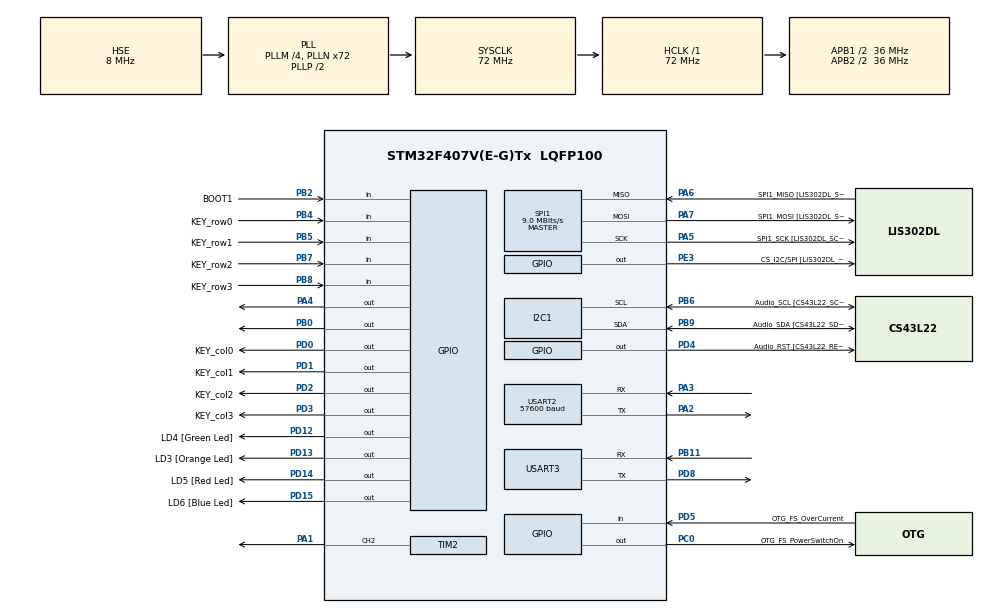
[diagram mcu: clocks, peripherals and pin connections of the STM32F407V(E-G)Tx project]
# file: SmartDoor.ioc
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Mcu.Family=STM32F4
Mcu.Name=STM32F407V(E-G)Tx
Mcu.Package=LQFP100
NVIC.PriorityGroup=NVIC_PRIORITYGROUP_4
NVIC.TIM6_DAC_IRQn=true\:10\:0\:true\:false\:true\:true\:true\:true
NVIC.TIM7_IRQn=true\:0\:0\:false\:false\:true\:false\:true\:true
NVIC.TimeBase=TIM7_IRQn
NVIC.TimeBaseIP=TIM7
PA1.Signal=S_TIM2_CH2
PA10.GPIO_Label=OTG_FS_ID
PA10.GPIO_Mode=GPIO_MODE_AF_PP
PA10.GPIO_PuPd=GPIO_NOPULL
PA10.GPIO_Speed=GPIO_SPEED_FREQ_LOW
PA10.Signal=USB_OTG_FS_ID
PA11.GPIO_Label=OTG_FS_DM
PA11.GPIO_Mode=GPIO_MODE_AF_PP
PA11.GPIO_PuPd=GPIO_NOPULL
PA11.GPIO_Speed=GPIO_SPEED_FREQ_LOW
PA11.Signal=USB_OTG_FS_DM
PA12.GPIO_Label=OTG_FS_DP
PA12.GPIO_Mode=GPIO_MODE_AF_PP
PA12.GPIO_PuPd=GPIO_NOPULL
PA12.GPIO_Speed=GPIO_SPEED_FREQ_LOW
PA12.Signal=USB_OTG_FS_DP
PA13.GPIO_Label=SWDIO
PA13.Mode=Serial_Wire
PA13.Signal=SYS_JTMS-SWDIO
PA14.GPIO_Label=SWCLK
PA14.Mode=Serial_Wire
PA14.Signal=SYS_JTCK-SWCLK
PA2.Mode=Asynchronous
PA2.Signal=USART2_TX
PA3.Mode=Asynchronous
PA3.Signal=USART2_RX
PA4.Signal=GPIO_Output
PA5.GPIO_Label=SPI1_SCK [LIS302DL_SCL/SPC]
PA5.GPIO_Mode=GPIO_MODE_AF_PP
PA5.GPIO_PuPd=GPIO_NOPULL
PA5.GPIO_Speed=GPIO_SPEED_FREQ_LOW
PA5.Mode=Full_Duplex_Master
PA5.Signal=SPI1_SCK
PA6.GPIO_Label=SPI1_MISO [LIS302DL_SDO]
PA6.GPIO_Mode=GPIO_MODE_AF_PP
PA6.GPIO_PuPd=GPIO_NOPULL
PA6.GPIO_Speed=GPIO_SPEED_FREQ_LOW
PA6.Mode=Full_Duplex_Master
PA6.Signal=SPI1_MISO
PA7.GPIO_Label=SPI1_MOSI [LIS302DL_SDA/SDI/SDO]
PA7.GPIO_Mode=GPIO_MODE_AF_PP
PA7.GPIO_PuPd=GPIO_NOPULL
PA7.GPIO_Speed=GPIO_SPEED_FREQ_LOW
PA7.Mode=Full_Duplex_Master
PA7.Signal=SPI1_MOSI
PA9.GPIO_Label=VBUS_FS
PA9.GPIO_Mode=GPIO_MODE_INPUT
PA9.GPIO_PuPd=GPIO_NOPULL
PA9.Signal=USB_OTG_FS_VBUS
PB0.Signal=GPIO_Output
PB10.GPIO_Label=CLK_IN [MP45DT02_CLK]
PB10.GPIO_Mode=GPIO_MODE_AF_PP
PB10.GPIO_PuPd=GPIO_NOPULL
PB10.GPIO_Speed=GPIO_SPEED_FREQ_LOW
PB10.Signal=I2S2_CK
PB11.Mode=Asynchronous
PB11.Signal=USART3_RX
PB2.GPIO_Label=BOOT1
PB2.GPIO_Mode=GPIO_MODE_INPUT
PB2.GPIO_PuPd=GPIO_NOPULL
PB2.Signal=GPIO_Input
PB3.GPIO_Label=SWO
PB3.Signal=SYS_JTDO-SWO
PB4.GPIO_Label=KEY_row0
PB4.GPIO_PuPd=GPIO_PULLUP
PB4.Signal=GPIO_Input
PB5.GPIO_Label=KEY_row1
PB5.GPIO_PuPd=GPIO_PULLUP
PB5.Signal=GPIO_Input
PB6.GPIO_Label=Audio_SCL [CS43L22_SCL]
PB6.GPIO_Mode=GPIO_MODE_AF_OD
PB6.GPIO_PuPd=GPIO_NOPULL
PB6.GPIO_Speed=GPIO_SPEED_FREQ_LOW
PB6.Mode=I2C
PB6.Signal=I2C1_SCL
PB7.GPIO_Label=KEY_row2
PB7.GPIO_PuPd=GPIO_PULLUP
PB7.Signal=GPIO_Input
PB8.GPIO_Label=KEY_row3
PB8.GPIO_PuPd=GPIO_PULLUP
PB8.Signal=GPIO_Input
PB9.GPIO_Label=Audio_SDA [CS43L22_SDA]
PB9.GPIO_Mode=GPIO_MODE_AF_OD
PB9.GPIO_PuPd=GPIO_NOPULL
PB9.GPIO_Speed=GPIO_SPEED_FREQ_LOW
PB9.Mode=I2C
PB9.Signal=I2C1_SDA
PC0.GPIO_Label=OTG_FS_PowerSwitchOn
PC0.GPIO_PuPd=GPIO_NOPULL
PC0.GPIO_Speed=GPIO_SPEED_FREQ_LOW
PC0.PinState=GPIO_PIN_SET
PC0.Signal=GPIO_Output
PC10.GPIO_Label=I2S3_SCK [CS43L22_SCLK]
PC10.GPIO_Mode=GPIO_MODE_AF_PP
PC10.GPIO_PuPd=GPIO_NOPULL
PC10.GPIO_Speed=GPIO_SPEED_FREQ_LOW
PC10.Signal=I2S3_CK
PC12.GPIO_Label=I2S3_SD [CS43L22_SDIN]
PC12.GPIO_Mode=GPIO_MODE_AF_PP
PC12.GPIO_PuPd=GPIO_NOPULL
PC12.GPIO_Speed=GPIO_SPEED_FREQ_LOW
PC12.Signal=I2S3_SD
PC14-OSC32_IN.GPIO_Label=PC14-OSC32_IN
PC14-OSC32_IN.Signal=RCC_OSC32_IN
PC15-OSC32_OUT.GPIO_Label=PC15-OSC32_OUT
PC15-OSC32_OUT.Signal=RCC_OSC32_OUT
PC3.GPIO_Label=PDM_OUT [MP45DT02_DOUT]
PC3.GPIO_Mode=GPIO_MODE_AF_PP
PC3.GPIO_PuPd=GPIO_NOPULL
PC3.GPIO_Speed=GPIO_SPEED_FREQ_LOW
PC3.Signal=I2S2_SD
PC7.GPIO_Label=I2S3_MCK [CS43L22_MCLK]
PC7.GPIO_Mode=GPIO_MODE_AF_PP
PC7.GPIO_PuPd=GPIO_NOPULL
PC7.GPIO_Speed=GPIO_SPEED_FREQ_LOW
PC7.Signal=I2S3_MCK
PD0.GPIO_Label=KEY_col0
PD0.PinState=GPIO_PIN_SET
PD0.Signal=GPIO_Output
PD1.GPIO_Label=KEY_col1
PD1.PinState=GPIO_PIN_SET
PD1.Signal=GPIO_Output
PD12.GPIO_Label=LD4 [Green Led]
PD12.GPIO_PuPd=GPIO_NOPULL
PD12.GPIO_Speed=GPIO_SPEED_FREQ_LOW
PD12.Signal=GPIO_Output
PD13.GPIO_Label=LD3 [Orange Led]
PD13.GPIO_PuPd=GPIO_NOPULL
PD13.GPIO_Speed=GPIO_SPEED_FREQ_LOW
PD13.Signal=GPIO_Output
PD14.GPIO_Label=LD5 [Red Led]
PD14.GPIO_PuPd=GPIO_NOPULL
PD14.GPIO_Speed=GPIO_SPEED_FREQ_LOW
PD14.Signal=GPIO_Output
PD15.GPIO_Label=LD6 [Blue Led]
PD15.GPIO_PuPd=GPIO_NOPULL
PD15.GPIO_Speed=GPIO_SPEED_FREQ_LOW
PD15.Signal=GPIO_Output
PD2.GPIO_Label=KEY_col2
PD2.PinState=GPIO_PIN_SET
PD2.Signal=GPIO_Output
PD3.GPIO_Label=KEY_col3
PD3.PinState=GPIO_PIN_SET
PD3.Signal=GPIO_Output
PD4.GPIO_Label=Audio_RST [CS43L22_RESET]
PD4.GPIO_PuPd=GPIO_NOPULL
PD4.GPIO_Speed=GPIO_SPEED_FREQ_LOW
PD4.Signal=GPIO_Output
PD5.GPIO_Label=OTG_FS_OverCurrent
PD5.GPIO_Mode=GPIO_MODE_INPUT
PD5.GPIO_PuPd=GPIO_NOPULL
PD5.Signal=GPIO_Input
PD8.Mode=Asynchronous
PD8.Signal=USART3_TX
PE3.GPIO_Label=CS_I2C/SPI [LIS302DL_CS_I2C/SPI]
PE3.GPIO_PuPd=GPIO_NOPULL
PE3.GPIO_Speed=GPIO_SPEED_FREQ_LOW
PE3.Signal=GPIO_Output
PH0-OSC_IN.GPIO_Label=PH0-OSC_IN
PH0-OSC_IN.Mode=HSE-External-Oscillator
PH0-OSC_IN.Signal=RCC_OSC_IN
PH1-OSC_OUT.GPIO_Label=PH1-OSC_OUT
PH1-OSC_OUT.Mode=HSE-External-Oscillator
PH1-OSC_OUT.Signal=RCC_OSC_OUT
ProjectManager.HeapSize=0x200
ProjectManager.StackSize=0x400
ProjectManager.TargetToolchain=STM32CubeIDE
RCC.48MHZClocksFreq_Value=20571428.57142857
RCC.AHBFreq_Value=72000000
RCC.APB1CLKDivider=RCC_HCLK_DIV2
RCC.APB1Freq_Value=36000000
RCC.APB1TimFreq_Value=72000000
RCC.APB2CLKDivider=RCC_HCLK_DIV2
RCC.APB2Freq_Value=36000000
RCC.APB2TimFreq_Value=72000000
RCC.CortexFreq_Value=72000000
RCC.HCLKFreq_Value=72000000
RCC.HSE_VALUE=8000000
RCC.HSI_VALUE=16000000
RCC.LSE_VALUE=32768
RCC.PLLM=4
RCC.PLLN=72
RCC.PLLQ=7
RCC.PLLSourceVirtual=RCC_PLLSOURCE_HSE
RCC.SYSCLKFreq_VALUE=72000000
RCC.SYSCLKSource=RCC_SYSCLKSOURCE_PLLCLK
RCC.VCOOutputFreq_Value=144000000
SH.S_TIM2_CH2.0=TIM2_CH2,PWM Generation2 CH2
SPI1.BaudRatePrescaler=SPI_BAUDRATEPRESCALER_4
SPI1.CalculateBaudRate=9.0 MBits/s
SPI1.Direction=SPI_DIRECTION_2LINES
SPI1.Mode=SPI_MODE_MASTER
SPI1.VirtualType=VM_MASTER
TIM2.Channel-PWM\ Generation2\ CH2=TIM_CHANNEL_2
TIM2.Period=20000-1
TIM2.Prescaler=72-1
TIM6.Period=5000-1
TIM6.Prescaler=7200-1
USART2.BaudRate=57600
USART2.VirtualMode=VM_ASYNC
USART3.VirtualMode=VM_ASYNC
VP_SYS_VS_tim7.Mode=TIM7
VP_TIM2_VS_ClockSourceINT.Mode=Internal
VP_TIM6_VS_ClockSourceINT.Mode=Enable_Timer
board=STM32F407G-DISC1

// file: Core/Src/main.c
/* USER CODE BEGIN Header */
/**
  ******************************************************************************
  * @file           : main.c
  * @brief          : Main program body
  ******************************************************************************
  * @attention
  *
  * Copyright (c) 2024 STMicroelectronics.
  * All rights reserved.
  *
  * This software is licensed under terms that can be found in the LICENSE file
  * in the root directory of this software component.
  * If no LICENSE file comes with this software, it is provided AS-IS.
  *
  ******************************************************************************
  */
/* USER CODE END Header */
#include "main.h"
#include "i2c.h"
#include "spi.h"
#include "tim.h"
#include "usart.h"
#include "gpio.h"

/* USER CODE BEGIN PV */

static TaskHandle_t AppTaskCreate_Handle;

//Task Handle
static TaskHandle_t DoorCtrlTask_Handle;
static TaskHandle_t RFIDTask_Handle;
static TaskHandle_t FPTask_Handle;
static TaskHandle_t xMotorTask_Handle;

//Queue Handle
//QueueHandle_t Ctrl_RFID_Queue;
//QueueHandle_t RFID_Ctrl_Queue;
QueueHandle_t Ctrl_FP_Queue;
QueueHandle_t FP_Ctrl_Queue;
QueueHandle_t Ctrl_Motor_Queue;

QueueData gCtrl_RFID;

uint8_t data;
uint8_t status;
uint8_t str[MAX_LEN]; // Max_LEN = 16
uint8_t sNum[5];
uint8_t fp_activate;

uint8_t storedRFIDCards[MAX_CARDS][RFID_CARD_LENGTH];
uint8_t EmptyRFIDCards[RFID_CARD_LENGTH];

SemaphoreHandle_t xKeyScanSemaphore;

char press_key;

//static TaskHandle_t IC_Task_Handle;

/* USER CODE END PV */

void SystemClock_Config(void);
/* USER CODE BEGIN PFP */
#ifdef __GNUC__
#define PUTCHAR_PROTOTYPE int __io_putchar(int ch)
#else
#define PUTCHAR_PROTOTYPE int fputc(int ch, FILE *f)
#endif

PUTCHAR_PROTOTYPE
{
	HAL_UART_Transmit(&huart3, (uint8_t *)&ch, 1, HAL_MAX_DELAY);
	return ch;
}

static void Queue_Init(void)
{
	QueueData QueueData_init;

//	Ctrl_RFID_Queue = xQueueCreate(QUEUE_LENGTH, sizeof(QueueData_init));
//	if (Ctrl_RFID_Queue == NULL) {
//		printf("Ctrl_RFID_Queue create fail \r \n");
//	}
//
//	RFID_Ctrl_Queue = xQueueCreate(QUEUE_LENGTH, sizeof(QueueData_init));
//	if (RFID_Ctrl_Queue == NULL) {
//		printf("RFID_Ctrl_Queue create fail \r \n");
//	}

	Ctrl_FP_Queue = xQueueCreate(QUEUE_LENGTH, sizeof(QueueData_init));
	if (Ctrl_FP_Queue == NULL) {
		printf("Ctrl_FP_Queue create fail \r \n");
	}

	FP_Ctrl_Queue = xQueueCreate(QUEUE_LENGTH, sizeof(QueueData_init));
	if (FP_Ctrl_Queue == NULL) {
		printf("FP_Ctrl_Queue create fail \r \n");
	}

	Ctrl_Motor_Queue = xQueueCreate(QUEUE_LENGTH, sizeof(QueueData_init));
	if (Ctrl_Motor_Queue == NULL) {
		printf("Ctrl_Motor_Queue create fail \r \n");
	}
}

static void BSP_Init(void)
{

	OLED_Init();
	OLED_Clear();
	OLED_Update();

}

/* USER CODE END PFP */

/* USER CODE BEGIN 0 */

uint16_t GetCCRFromAngle(float InputAngle){
    float Ret=InputAngle/180*2000+500;
    return Ret;
}

void MotorTask( void ){

	QueueData MotorqueueData_rx;

    for(;;){

//		HAL_GPIO_TogglePin(GPIOD, GPIO_PIN_12);
//		vTaskDelay(200);

        if(xQueueReceive(Ctrl_Motor_Queue, &(MotorqueueData_rx), pdMS_TO_TICKS(50)))
        {

            if(MotorqueueData_rx.systemmode == OPEN) { // Forward 180 degrees
				__HAL_TIM_SET_COMPARE(&htim2, TIM_CHANNEL_2, GetCCRFromAngle(180));
//				vTaskDelay(50);
	            printf("MotorTask OPEN \n");
            }
            else if(MotorqueueData_rx.systemmode == CLOSE)
            { // Backward 180 degrees
				__HAL_TIM_SET_COMPARE(&htim2, TIM_CHANNEL_2, GetCCRFromAngle(0));
//				vTaskDelay(50);
				printf("MotorTask CLOSE \n");
            }
        }
        vTaskDelay(500);

    }

}

static void AppTaskCreate(void)
{
	BaseType_t xReturn = pdPASS;
	taskENTER_CRITICAL();

	xReturn = xTaskCreate((TaskFunction_t	)DoorCtrlTask,
															(const char* 	)"DoorCtrlTask",
															(uint32_t 		)128,
															(void* 		  	)NULL,
															(UBaseType_t 	)4,
															(TaskHandle_t*  )&DoorCtrlTask_Handle);

	if(pdPASS == xReturn)
		printf("DoorCtrlTask Task Create Successful!\r\n");

//	xReturn = xTaskCreate((TaskFunction_t	)RFIDTask,
//															(const char* 	)"RFIDTask",
//															(uint32_t 		)128,
//															(void* 		  	)NULL,
//															(UBaseType_t 	)4,
//															(TaskHandle_t*  )&RFIDTask_Handle);
//	if(pdPASS == xReturn)
//		printf("RFIDTask Task Create Successful!\r\n");

//	xReturn = xTaskCreate((TaskFunction_t	)FPTask,
//															(const char* 	)"FPTask",
//															(uint32_t 		)128,
//															(void* 		  	)NULL,
//															(UBaseType_t 	)4,
//															(TaskHandle_t*  )&FPTask_Handle);
//	if(pdPASS == xReturn)
//		printf("FPTask Task Create Successful!\r\n");

	xReturn = xTaskCreate((TaskFunction_t	)MotorTask,
															(const char* 	)"MotorTask",
															(uint32_t 		)128,
															(void* 		  	)NULL,
															(UBaseType_t 	)3,
															(TaskHandle_t*  )&xMotorTask_Handle);
	if(pdPASS == xReturn)

  vTaskDelete(AppTaskCreate_Handle);

  taskEXIT_CRITICAL();            //???��?��??��?
}

/* USER CODE END 0 */

int main(void)
{

  /* MCU Configuration--------------------------------------------------------*/

  /* Reset of all peripherals, Initializes the Flash interface and the Systick. */
  HAL_Init();

  /* Configure the system clock */
  SystemClock_Config();

  /* Initialize all configured peripherals */
  MX_GPIO_Init();
  MX_USART2_UART_Init();
  MX_I2C1_Init();
  MX_SPI1_Init();
  MX_USART3_UART_Init();
  MX_TIM2_Init();
  MX_TIM6_Init();
  /* USER CODE BEGIN 2 */
  BaseType_t xReturn = pdPASS;

  MFRC522_Init();
  InitStoredRFIDCards();
  BSP_Init();

  HAL_TIM_Base_Start_IT(&htim6);
  HAL_TIM_PWM_Start(&htim2,TIM_CHANNEL_2);

  xKeyScanSemaphore = xSemaphoreCreateBinary();

  printf("BSP Init Done!\r\n");

  Queue_Init();
  printf("Queue Init Done!\r\n");

  xReturn = xTaskCreate((TaskFunction_t	)AppTaskCreate,
														(const char* 	)"AppTaskCreate",
														(uint32_t 		)128,
														(void* 		  	)NULL,
														(UBaseType_t 	)4,
														(TaskHandle_t*  )&AppTaskCreate_Handle);

	if(NULL != AppTaskCreate_Handle)
	vTaskStartScheduler();

  /* USER CODE END 2 */

  /* Infinite loop */
  while (1)
  {

  }
}

void SystemClock_Config(void)
{
  RCC_OscInitTypeDef RCC_OscInitStruct = {0};
  RCC_ClkInitTypeDef RCC_ClkInitStruct = {0};

  /** Configure the main internal regulator output voltage
  */
  __HAL_RCC_PWR_CLK_ENABLE();
  __HAL_PWR_VOLTAGESCALING_CONFIG(PWR_REGULATOR_VOLTAGE_SCALE1);

  /** Initializes the RCC Oscillators according to the specified parameters
  * in the RCC_OscInitTypeDef structure.
  */
  RCC_OscInitStruct.OscillatorType = RCC_OSCILLATORTYPE_HSE;
  RCC_OscInitStruct.HSEState = RCC_HSE_ON;
  RCC_OscInitStruct.PLL.PLLState = RCC_PLL_ON;
  RCC_OscInitStruct.PLL.PLLSource = RCC_PLLSOURCE_HSE;
  RCC_OscInitStruct.PLL.PLLM = 4;
  RCC_OscInitStruct.PLL.PLLN = 72;
  RCC_OscInitStruct.PLL.PLLP = RCC_PLLP_DIV2;
  RCC_OscInitStruct.PLL.PLLQ = 7;
  if (HAL_RCC_OscConfig(&RCC_OscInitStruct) != HAL_OK)
  {
    Error_Handler();
  }

  /** Initializes the CPU, AHB and APB buses clocks
  */
  RCC_ClkInitStruct.ClockType = RCC_CLOCKTYPE_HCLK|RCC_CLOCKTYPE_SYSCLK
                              |RCC_CLOCKTYPE_PCLK1|RCC_CLOCKTYPE_PCLK2;
  RCC_ClkInitStruct.SYSCLKSource = RCC_SYSCLKSOURCE_PLLCLK;
  RCC_ClkInitStruct.AHBCLKDivider = RCC_SYSCLK_DIV1;
  RCC_ClkInitStruct.APB1CLKDivider = RCC_HCLK_DIV2;
  RCC_ClkInitStruct.APB2CLKDivider = RCC_HCLK_DIV2;

  if (HAL_RCC_ClockConfig(&RCC_ClkInitStruct, FLASH_LATENCY_2) != HAL_OK)
  {
    Error_Handler();
  }
}

void HAL_TIM_PeriodElapsedCallback(TIM_HandleTypeDef *htim)
{
  if (htim->Instance == TIM7) {
    HAL_IncTick();
  }
  /* USER CODE BEGIN Callback 1 */

  if (htim->Instance == TIM6) {
//		HAL_GPIO_TogglePin(GPIOD, GPIO_PIN_13);

    	press_key = KEY_SCAN();

		if (press_key != '\0')
		{
			printf("press_key = %c \r\n",press_key);

			BaseType_t xHigherPriorityTaskWoken;
			xHigherPriorityTaskWoken = pdFALSE;
			xSemaphoreGiveFromISR(xKeyScanSemaphore,&xHigherPriorityTaskWoken);
			portYIELD_FROM_ISR(xHigherPriorityTaskWoken);
		}

	   status = MFRC522_Request(PICC_REQIDL, str);
	   if (status == MI_OK)
	   {
		   status = MFRC522_Anticoll(str);
	   }

	   if(fp_activate > 50)
	   {
		   fp_activate = 0;
	   }
	   else
	   {
		   fp_activate++;
//		   printf("fp_activate : %u \r\n",fp_activate );
	   }

//		status = MFRC522_Request(PICC_REQIDL, str);
//		status = MFRC522_Anticoll(str);
//		if (status == MI_OK)
//		{
//			BaseType_t xHigherPriorityTaskWoken;
//			xHigherPriorityTaskWoken = pdFALSE;
//			xSemaphoreGiveFromISR(xRFIDSemaphore,&xHigherPriorityTaskWoken);
//			portYIELD_FROM_ISR(xHigherPriorityTaskWoken);
//		}

//		if (press_key != '\0')
//		{
//			BaseType_t xHigherPriorityTaskWoken;
//			xHigherPriorityTaskWoken = pdFALSE;
//			xSemaphoreGiveFromISR(xKeyScanSemaphore,&xHigherPriorityTaskWoken);
//			portYIELD_FROM_ISR(xHigherPriorityTaskWoken);
//		}

//	    BaseType_t xHigherPriorityTaskWoken = pdFALSE;
//	    if (xSemaphoreGiveFromISR(xKeyScanSemaphore, &xHigherPriorityTaskWoken) == pdTRUE) {
//	      portYIELD_FROM_ISR(xHigherPriorityTaskWoken);
//	    }
  }

  /* USER CODE END Callback 1 */
}

void Error_Handler(void)
{
  __disable_irq();
  while (1)
  {
  }
}
